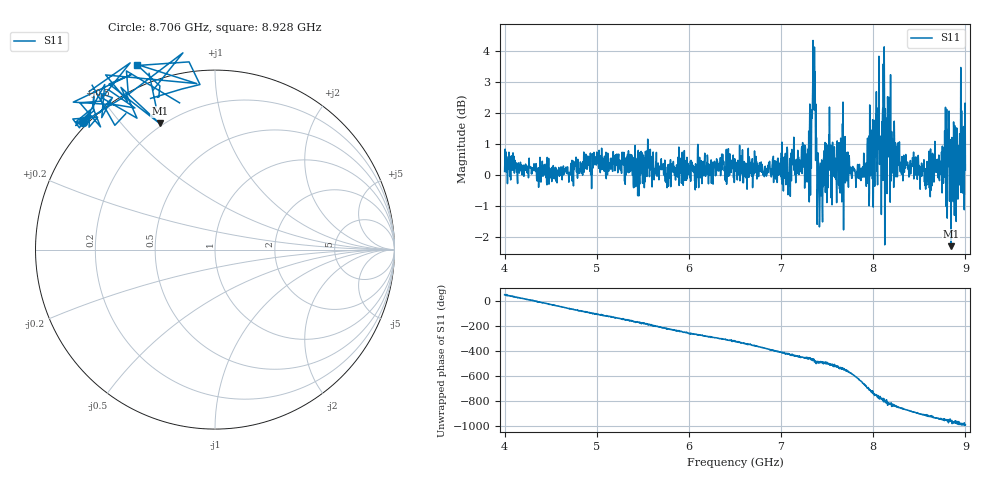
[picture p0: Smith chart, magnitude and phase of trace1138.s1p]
! Created with skrf 1.8.0 (http://scikit-rf.org).
# Hz S RI R 50.0
!freq ReS11 ImS11
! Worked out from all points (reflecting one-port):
!   1601 points, 4 GHz to 9 GHz, reference 50 ohm
!   lowest |S11| = -2.3 dB at 8.844 GHz (marker M1), VSWR 7.60, Z = 9.32 + j31.9 ohm
!   phase of S11 starts at 53 deg and turns -1047 deg over the sweep
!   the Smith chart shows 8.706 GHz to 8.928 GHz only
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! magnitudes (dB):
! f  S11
! 4 GHz  0.1
! 4.625 GHz  -0.2
! 5.25 GHz  0.2
! 5.875 GHz  0.1
! 6.5 GHz  0.4
! 7.075 GHz  -0.6
! 7.125 GHz  0.5
! 7.281 GHz  0.7
! 7.312 GHz  2.3
! 7.356 GHz  3.5
! 7.397 GHz  -0.5
! 7.412 GHz  -0.8
! 7.434 GHz  -0.7
! 7.512 GHz  0.5
! 7.578 GHz  0.9
! 7.669 GHz  0.3
! 7.75 GHz  0.0
! 7.906 GHz  0.4
! 8.097 GHz  1.0
! 8.15 GHz  -0.6
! 8.178 GHz  2.3
! 8.216 GHz  0.5
! 8.375 GHz  0.3
! 8.578 GHz  -0.3
! 8.8 GHz  0.0
! 8.844 GHz  -2.3
! 8.956 GHz  0.4
! 9 GHz  0.2
